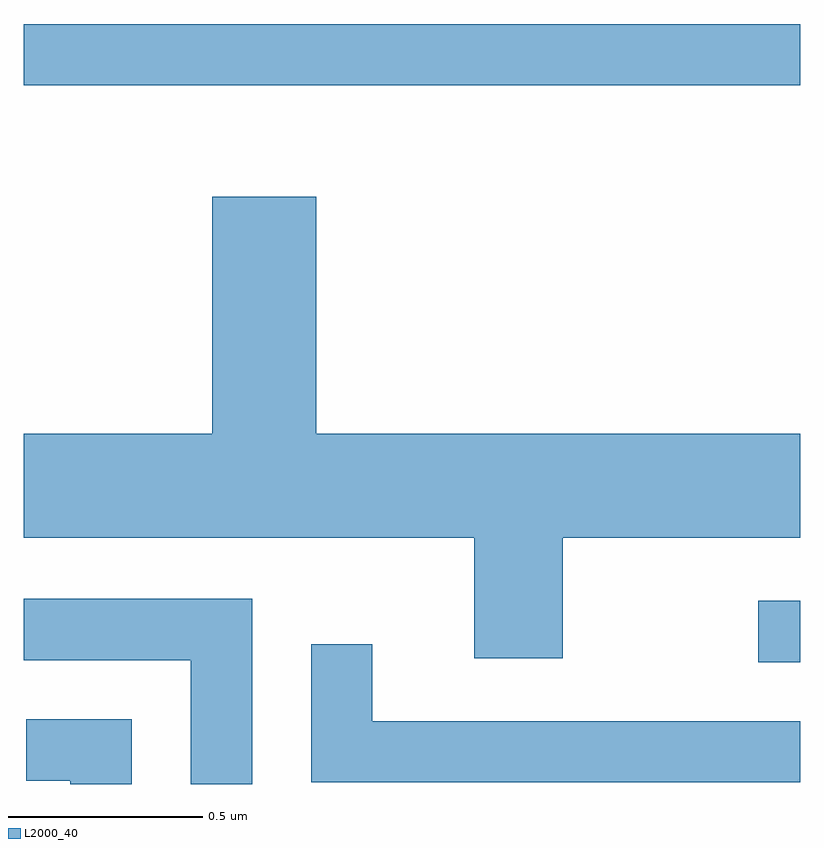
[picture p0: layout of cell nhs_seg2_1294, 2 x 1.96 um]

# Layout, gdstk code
import gdstk
lib = gdstk.Library(unit=1e-6, precision=1e-09)
def R(c, l, rs):  # rectangles x0, y0, x1, y1
    for r in rs: c.add(gdstk.rectangle(r[:2], r[2:], *l))
def P(c, l, *ps):  # polygons
    for p in ps: c.add(gdstk.Polygon(p, *l))
L2000_40 = (2000, 40)

nhs_seg2_1294 = lib.new_cell('nhs_seg2_1294')
R(nhs_seg2_1294, L2000_40, [(196.503,1039.116,196.611,1039.274), (194.611,1040.601,196.611,1040.759)])
P(nhs_seg2_1294, L2000_40, [(195.999,1039.436),(196.611,1039.436),(196.611,1039.704),(195.364,1039.704),(195.364,1040.314),(195.096,1040.314),(195.096,1039.704),(194.611,1039.704),(194.611,1039.436),(195.771,1039.436),(195.771,1039.126),(195.999,1039.126)],
  [(195.199,1039.279),(194.611,1039.279),(194.611,1039.121),(195.041,1039.121),(195.041,1038.802),(195.199,1038.802)],
  [(196.611,1038.964),(195.509,1038.964),(195.509,1039.162),(195.351,1039.162),(195.351,1038.806),(196.611,1038.806)],
  [(194.889,1038.969),(194.618,1038.969),(194.618,1038.811),(194.731,1038.811),(194.731,1038.802),(194.889,1038.802)])

lib.write_gds('nhs_seg2_1294.gds')
